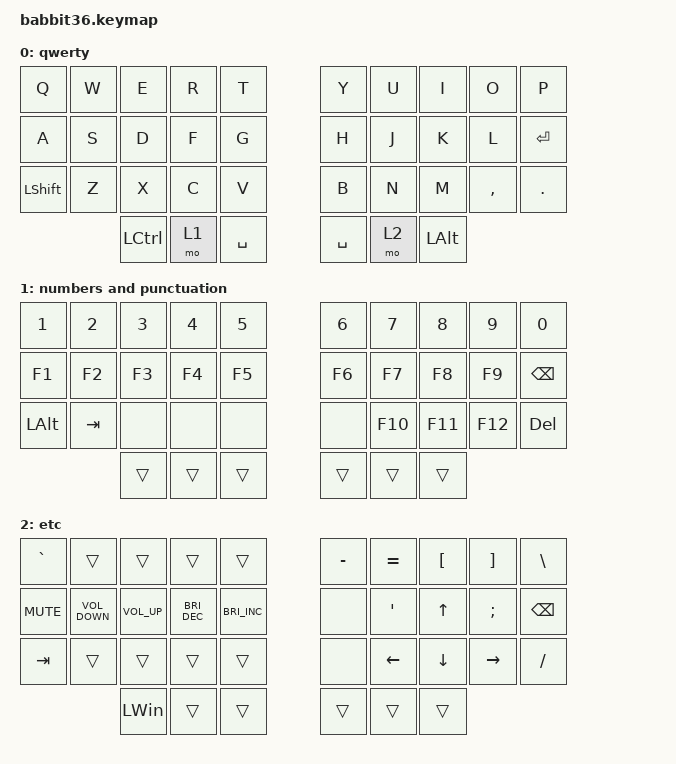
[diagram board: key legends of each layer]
#include <behaviors.dtsi>
#include <dt-bindings/zmk/bt.h>
#include <dt-bindings/zmk/keys.h>
#include <dt-bindings/zmk/outputs.h>

#define RAISE_L 1
#define LOWER_L 2
#define RAISE_LOWER_L 3

// Using layer taps on thumbs, having quick tap as well helps w/ repeating space/backspace

&mt {
    tapping-term-ms = <300>;
    quick-tap-ms = <300>;
    flavor = "balanced";
};

&lt {
    tapping-term-ms = <300>;
    quick-tap-ms = <300>;
    flavor = "balanced";
};

/ {
    behaviors {
        btsel0f3: btsel0f3 {
            compatible = "zmk,behavior-mod-morph";
            label = "BTSEL0F3";
            bindings = <&kp F3>, <&bt BT_SEL 0>;

            #binding-cells = <0>;
            mods = <(MOD_LGUI)>;
        };

        btsel1f4: btsel1f4 {
            compatible = "zmk,behavior-mod-morph";
            label = "BTSEL1F4";
            bindings = <&kp F4>, <&bt BT_SEL 1>;

            #binding-cells = <0>;
            mods = <(MOD_LGUI)>;
        };

        btsel2f5: btsel2f5 {
            compatible = "zmk,behavior-mod-morph";
            label = "BTSEL2F5";
            bindings = <&kp F5>, <&bt BT_SEL 2>;

            #binding-cells = <0>;
            mods = <(MOD_LGUI)>;
        };

        btclrf6: btclrf6 {
            compatible = "zmk,behavior-mod-morph";
            label = "BTCLRF6";
            bindings = <&kp F6>, <&bt BT_CLR>;

            #binding-cells = <0>;
            mods = <(MOD_LGUI)>;
        };

        resetf10: resetf10 {
            compatible = "zmk,behavior-mod-morph";
            label = "RESETF10";
            bindings = <&kp F10>, <&sys_reset>;

            #binding-cells = <0>;
            mods = <(MOD_LGUI)>;
        };

        bootf11: bootf11 {
            compatible = "zmk,behavior-mod-morph";
            label = "BOOTF11";
            bindings = <&kp F11>, <&bootloader>;

            #binding-cells = <0>;
            mods = <(MOD_LGUI)>;
        };

        shutdownf9: shutdownf9 {
            compatible = "zmk,behavior-mod-morph";
            label = "SHUTDOWNF9";
            bindings = <&kp F9>, <&soft_off>;

            #binding-cells = <0>;
            mods = <(MOD_LGUI)>;
        };

        outf12: outf12 {
            compatible = "zmk,behavior-mod-morph";
            label = "OUTF12";
            bindings = <&kp F12>, <&out OUT_TOG>;

            #binding-cells = <0>;
            mods = <(MOD_LGUI)>;
        };
    };

    combos {
        compatible = "zmk,combos";

        backspace {
            bindings = <&kp BACKSPACE>;
            key-positions = <19 35>;
        };
    };

    keymap {
        compatible = "zmk,keymap";

        qwerty_layer {
            label = "qwerty";
            bindings = <
&kp Q           &kp W  &kp E      &kp R  &kp T      &kp Y      &kp U  &kp I         &kp O      &kp P
&kp A           &kp S  &kp D      &kp F  &kp G      &kp H      &kp J  &kp K         &kp L      &kp ENTER
&kp LEFT_SHIFT  &kp Z  &kp X      &kp C  &kp V      &kp B      &kp N  &kp M         &kp COMMA  &kp PERIOD
                       &kp LCTRL  &mo 1  &kp SPACE  &kp SPACE  &mo 2  &kp LEFT_ALT
            >;
        };

        num {
            bindings = <
&kp NUMBER_1  &kp NUMBER_2  &kp NUMBER_3  &kp NUMBER_4  &kp NUMBER_5  &kp NUMBER_6  &kp NUMBER_7  &kp NUMBER_8  &kp NUMBER_9  &kp NUMBER_0
&kp F1        &kp F2        &kp F3        &kp F4        &kp F5        &kp F6        &kp F7        &kp F8        &kp F9        &kp BACKSPACE
&kp LEFT_ALT  &kp TAB       &none         &none         &none         &none         &kp F10       &kp F11       &kp F12       &kp DELETE
                            &trans        &trans        &trans        &trans        &trans        &trans
            >;

            label = "numbers and punctuation";
        };

        etc {
            label = "etc";
            bindings = <
&kp GRAVE   &trans             &trans           &trans                &trans                &kp MINUS  &kp EQUAL       &kp LEFT_BRACKET  &kp RIGHT_BRACKET  &kp BACKSLASH
&kp K_MUTE  &kp C_VOLUME_DOWN  &kp C_VOLUME_UP  &kp C_BRIGHTNESS_DEC  &kp C_BRIGHTNESS_INC  &none      &kp APOSTROPHE  &kp UP            &kp SEMI           &kp BACKSPACE
&kp TAB     &trans             &trans           &trans                &trans                &none      &kp LEFT        &kp DOWN          &kp RIGHT          &kp SLASH
                               &kp LEFT_WIN     &trans                &trans                &trans     &trans          &trans
            >;
        };
    };
};
